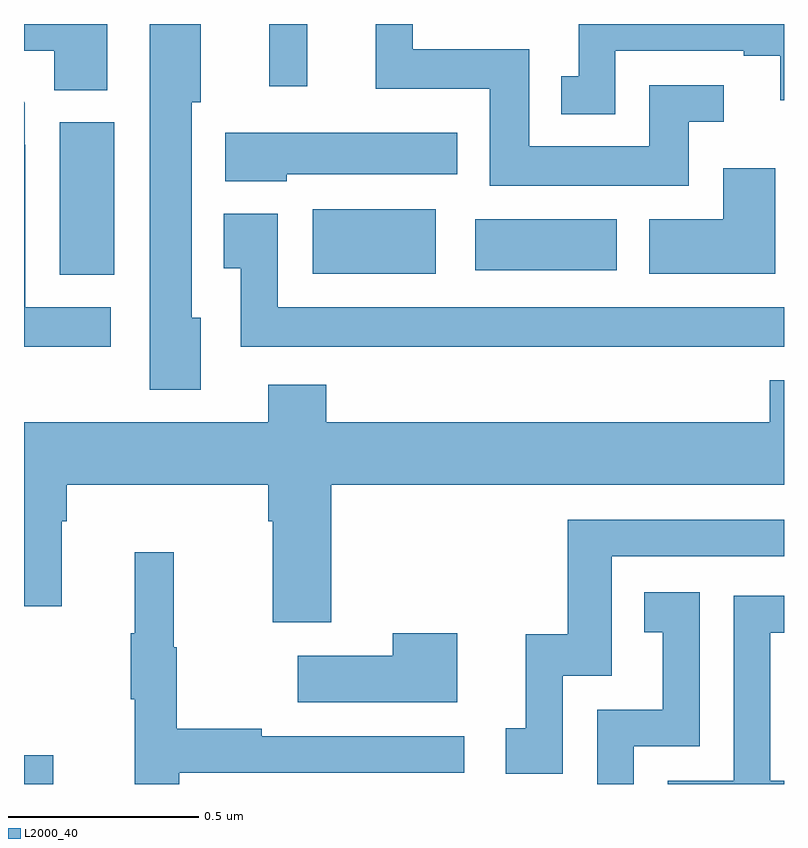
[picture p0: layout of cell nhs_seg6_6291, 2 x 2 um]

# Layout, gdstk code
import gdstk
lib = gdstk.Library(unit=1e-6, precision=1e-09)
def R(c, l, rs):  # rectangles x0, y0, x1, y1
    for r in rs: c.add(gdstk.rectangle(r[:2], r[2:], *l))
def P(c, l, *ps):  # polygons
    for p in ps: c.add(gdstk.Polygon(p, *l))
L2000_40 = (2000, 40)

nhs_seg6_6291 = lib.new_cell('nhs_seg6_6291')
R(nhs_seg6_6291, L2000_40, [(193,994.5,193.077,994.576), (193.094,995.84,193.237,996.241), (193.76,995.843,194.083,996.013), (194.187,995.852,194.56,995.986), (193.646,996.336,193.745,996.5)])
P(nhs_seg6_6291, L2000_40, [(194.556,996.429),(194.894,996.429),(194.894,996.417),(194.99,996.417),(194.99,996.3),(195,996.3),(195,996.5),(194.46,996.5),(194.46,996.363),(194.414,996.363),(194.414,996.263),(194.556,996.263)],
  [(193.465,995.727),(193.441,995.727),(193.441,996.294),(193.465,996.294),(193.465,996.5),(193.331,996.5),(193.331,995.537),(193.465,995.537)],
  [(194.749,996.243),(194.842,996.243),(194.842,996.339),(194.645,996.339),(194.645,996.178),(194.329,996.178),(194.329,996.433),(194.023,996.433),(194.023,996.5),(193.925,996.5),(193.925,996.329),(194.225,996.329),(194.225,996.074),(194.749,996.074)],
  [(193.219,996.5),(193,996.5),(193,996.429),(193.08,996.429),(193.08,996.326),(193.219,996.326)],
  [(193.228,995.755),(193.003,995.755),(193.003,996.182),(193.002,996.182),(193.002,996.293),(193,996.295),(193,995.651),(193.228,995.651)],
  [(193.692,996.104),(194.14,996.104),(194.14,996.214),(193.53,996.214),(193.53,996.086),(193.692,996.086)],
  [(194.977,996.121),(194.84,996.121),(194.84,995.986),(194.645,995.986),(194.645,995.843),(194.977,995.843)],
  [(195,995.755),(193.668,995.755),(193.668,996.001),(193.526,996.001),(193.526,995.857),(193.571,995.857),(193.571,995.651),(195,995.651)],
  [(193.808,995.288),(195,995.288),(195,995.563),(194.963,995.563),(194.963,995.452),(193.796,995.452),(193.796,995.551),(193.643,995.551),(193.643,995.452),(193,995.452),(193,994.968),(193.099,994.968),(193.099,995.192),(193.112,995.192),(193.112,995.288),(193.643,995.288),(193.643,995.192),(193.655,995.192),(193.655,994.926),(193.808,994.926)],
  [(194.418,994.785),(194.547,994.785),(194.547,995.1),(195,995.1),(195,995.196),(194.431,995.196),(194.431,994.894),(194.321,994.894),(194.321,994.647),(194.268,994.647),(194.268,994.527),(194.418,994.527)],
  [(193.409,994.53),(194.158,994.53),(194.158,994.626),(193.625,994.626),(193.625,994.646),(193.402,994.646),(193.402,994.86),(193.394,994.86),(193.394,995.11),(193.292,995.11),(193.292,994.897),(193.281,994.897),(193.281,994.723),(193.292,994.723),(193.292,994.5),(193.409,994.5)],
  [(194.604,994.599),(194.778,994.599),(194.778,995.005),(194.632,995.005),(194.632,994.899),(194.681,994.899),(194.681,994.695),(194.508,994.695),(194.508,994.5),(194.604,994.5)],
  [(195,994.509),(194.964,994.509),(194.964,994.898),(195,994.898),(195,994.995),(194.868,994.995),(194.868,994.509),(194.694,994.509),(194.694,994.5),(195,994.5)],
  [(194.14,994.897),(193.97,994.897),(193.97,994.837),(193.721,994.837),(193.721,994.715),(194.14,994.715)])

lib.write_gds('nhs_seg6_6291.gds')
